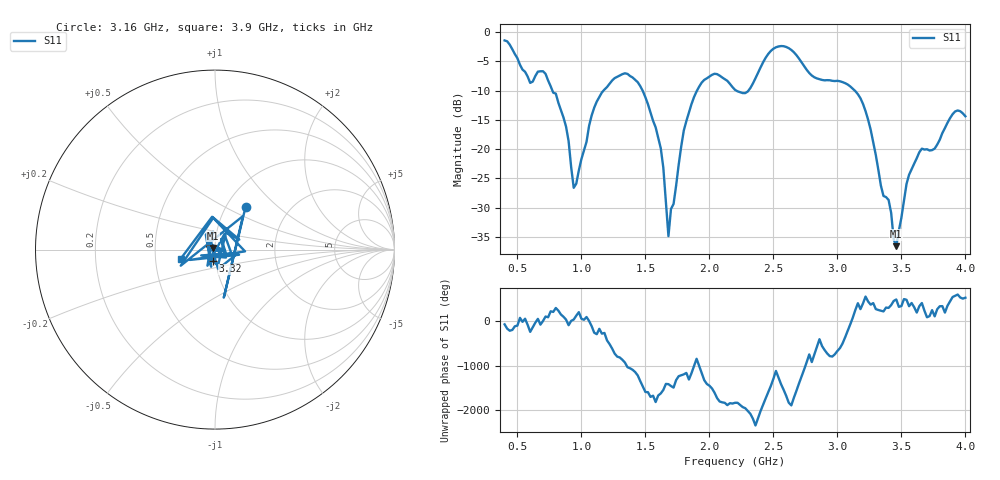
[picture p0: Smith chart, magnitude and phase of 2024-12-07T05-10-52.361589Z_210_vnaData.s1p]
!Created with skrf (http://scikit-rf.org).
# Hz S RI R 50.0
!freq ReS11 ImS11
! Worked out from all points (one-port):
!   181 points, 400 MHz to 4 GHz, reference 50 ohm
!   lowest |S11| = -36.6 dB at 3.46 GHz (marker M1), VSWR 1.03, Z = 48.9 + j0.933 ohm
!   |S11| at or under -10 dB: 773.2 MHz to 1.173 GHz (400 MHz wide, 41.1 % of centre); 1.478 GHz to 1.903 GHz (425.4 MHz wide, 25.2 % of centre); 3.136 GHz to end of sweep (the widest 3 of 4)
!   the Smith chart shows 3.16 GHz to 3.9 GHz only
!   S11 on the Smith chart (normalised r, x): 3.16 GHz: 1.23, +0.64; 3.32 GHz: 0.97, -0.13; 3.9 GHz: 0.68, -0.07
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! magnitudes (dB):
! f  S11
! 400 MHz  -1.4
! 600 MHz  -8.7
! 720 MHz  -7.1
! 860 MHz  -14.6
! 940 MHz  -26.6
! 1.1 GHz  -12.9
! 1.3 GHz  -7.4
! 1.44 GHz  -8.6
! 1.58 GHz  -16.3
! 1.64 GHz  -23.2
! 1.68 GHz  -34.9
! 1.76 GHz  -22.7
! 1.82 GHz  -15.2
! 1.94 GHz  -8.6
! 2.2 GHz  -9.9
! 2.3 GHz  -10.2
! 2.5 GHz  -2.9
! 2.66 GHz  -3.5
! 2.82 GHz  -7.7
! 3.1 GHz  -9.3
! 3.16 GHz  -10.6
! 3.24 GHz  -15.0
! 3.32 GHz  -23.6
! 3.4 GHz  -28.7
! 3.46 GHz  -36.6
! 3.56 GHz  -24.4
! 3.9 GHz  -14.0
! 4 GHz  -14.4
